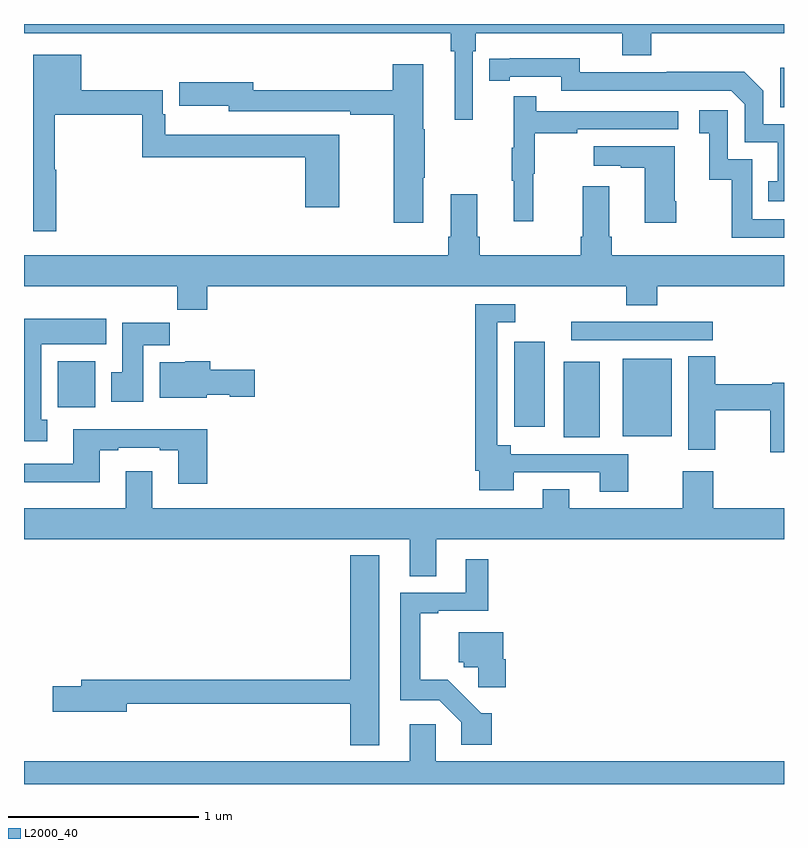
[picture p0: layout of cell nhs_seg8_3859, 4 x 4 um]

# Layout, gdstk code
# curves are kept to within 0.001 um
import gdstk
lib = gdstk.Library(unit=1e-6, precision=1e-09)
def R(c, l, rs):  # rectangles x0, y0, x1, y1
    for r in rs: c.add(gdstk.rectangle(r[:2], r[2:], *l))
def P(c, l, *ps):  # polygons
    for p in ps: c.add(gdstk.Polygon(p, *l))
L2000_40 = (2000, 40)

nhs_seg8_3859 = lib.new_cell('nhs_seg8_3859')
R(nhs_seg8_3859, L2000_40, [(351.842,1095.725,352.03,1096.123), (352.151,1095.731,352.408,1096.138), (351.581,1095.78,351.742,1096.228), (349.178,1095.884,349.375,1096.126), (351.879,1096.236,352.624,1096.332), (352.98,1097.463,353,1097.671)])
P(nhs_seg8_3859, L2000_40, [(351.363,1097.756),(351.377,1097.756),(351.377,1097.852),(352.148,1097.852),(352.148,1097.735),(352.301,1097.735),(352.301,1097.852),(353,1097.852),(353,1097.9),(349,1097.9),(349,1097.852),(351.247,1097.852),(351.247,1097.756),(351.266,1097.756),(351.266,1097.397),(351.363,1097.397)],
  [(349.171,1097.133),(349.163,1097.133),(349.163,1097.422),(349.623,1097.422),(349.623,1097.2),(350.48,1097.2),(350.48,1096.935),(350.658,1096.935),(350.658,1097.316),(349.982,1097.316),(349.982,1097.317),(349.744,1097.317),(349.744,1097.424),(349.731,1097.424),(349.731,1097.551),(349.3,1097.551),(349.3,1097.737),(349.049,1097.737),(349.049,1096.809),(349.171,1096.809)],
  [(353,1097.373),(352.89,1097.373),(352.89,1097.55),(352.792,1097.648),(352.384,1097.648),(352.384,1097.646),(351.924,1097.646),(351.924,1097.719),(351.448,1097.718),(351.448,1097.602),(351.556,1097.602),(351.556,1097.622),(351.828,1097.622),(351.828,1097.55),(352.722,1097.55),(352.794,1097.478),(352.794,1097.277),(352.967,1097.277),(352.967,1097.073),(352.918,1097.073),(352.918,1096.968),(353,1096.968)],
  [(351.1,1097.092),(351.108,1097.092),(351.108,1097.345),(351.1,1097.345),(351.1,1097.689),(350.942,1097.689),(350.942,1097.551),(350.206,1097.551),(350.206,1097.593),(349.818,1097.593),(349.818,1097.471),(350.078,1097.471),(350.078,1097.442),(350.716,1097.442),(350.716,1097.422),(350.947,1097.422),(350.947,1096.854),(351.1,1096.854)],
  [(351.68,1097.112),(351.688,1097.112),(351.688,1097.326),(351.911,1097.326),(351.911,1097.346),(352.444,1097.346),(352.444,1097.442),(351.695,1097.442),(351.695,1097.521),(351.578,1097.521),(351.578,1097.249),(351.567,1097.249),(351.567,1097.075),(351.578,1097.075),(351.578,1096.863),(351.68,1096.863)],
  [(353,1096.872),(352.833,1096.872),(352.833,1097.187),(352.704,1097.187),(352.704,1097.446),(352.554,1097.446),(352.554,1097.325),(352.607,1097.325),(352.607,1097.079),(352.725,1097.079),(352.725,1096.776),(353,1096.776)],
  [(352.434,1096.966),(352.426,1096.966),(352.426,1097.257),(351.999,1097.257),(351.999,1097.153),(352.142,1097.153),(352.142,1097.143),(352.268,1097.143),(352.268,1096.854),(352.434,1096.854)],
  [(349.964,1096.52),(352.169,1096.52),(352.169,1096.421),(352.334,1096.421),(352.334,1096.52),(353,1096.52),(353,1096.684),(352.094,1096.684),(352.094,1096.78),(352.081,1096.78),(352.081,1097.047),(351.941,1097.047),(351.941,1096.78),(351.929,1096.78),(351.929,1096.684),(351.398,1096.684),(351.398,1096.78),(351.385,1096.78),(351.385,1097.005),(351.245,1097.005),(351.245,1096.78),(351.233,1096.78),(351.233,1096.684),(349,1096.684),(349,1096.52),(349.807,1096.52),(349.807,1096.396),(349.964,1096.396)],
  [(352.179,1095.636),(351.562,1095.636),(351.562,1095.682),(351.492,1095.682),(351.492,1096.329),(351.586,1096.329),(351.586,1096.425),(351.376,1096.425),(351.376,1095.55),(351.395,1095.55),(351.395,1095.446),(351.577,1095.446),(351.577,1095.54),(352.031,1095.54),(352.031,1095.438),(352.179,1095.438)],
  [(349.123,1095.818),(349.09,1095.818),(349.09,1096.214),(349.432,1096.214),(349.432,1096.348),(349,1096.348),(349,1095.705),(349.123,1095.705)],
  [(349.627,1096.208),(349.766,1096.208),(349.766,1096.327),(349.517,1096.327),(349.517,1096.068),(349.46,1096.068),(349.46,1095.912),(349.627,1095.912)],
  [(353,1096.012),(352.938,1096.012),(352.938,1096.004),(352.638,1096.004),(352.638,1096.151),(352.496,1096.151),(352.496,1095.66),(352.638,1095.66),(352.638,1095.868),(352.927,1095.868),(352.927,1095.645),(353,1095.645)],
  [(349.962,1095.95),(350.082,1095.95),(350.082,1095.938),(350.215,1095.938),(350.215,1096.08),(349.979,1096.08),(349.979,1096.126),(349.848,1096.126),(349.848,1096.12),(349.715,1096.12),(349.715,1095.932),(349.962,1095.932)],
  [(349.964,1095.766),(349.259,1095.766),(349.259,1095.585),(349,1095.585),(349,1095.488),(349.399,1095.488),(349.399,1095.657),(349.495,1095.657),(349.495,1095.669),(349.715,1095.669),(349.715,1095.657),(349.811,1095.657),(349.811,1095.48),(349.964,1095.48)],
  [(351.169,1095.188),(353,1095.188),(353,1095.352),(352.628,1095.352),(352.628,1095.547),(352.468,1095.547),(352.468,1095.352),(351.871,1095.352),(351.871,1095.451),(351.731,1095.451),(351.731,1095.352),(349.675,1095.352),(349.675,1095.547),(349.535,1095.547),(349.535,1095.352),(349,1095.352),(349,1095.188),(351.029,1095.188),(351.029,1094.994),(351.169,1094.994)],
  [(350.869,1095.103),(350.717,1095.103),(350.717,1094.45),(349.301,1094.45),(349.301,1094.414),(349.152,1094.414),(349.152,1094.279),(349.54,1094.279),(349.54,1094.322),(350.717,1094.322),(350.717,1094.105),(350.869,1094.105)],
  [(351.461,1094.272),(351.407,1094.272),(351.229,1094.45),(351.085,1094.45),(351.085,1094.799),(351.181,1094.799),(351.181,1094.811),(351.443,1094.811),(351.443,1095.082),(351.326,1095.082),(351.326,1094.907),(350.981,1094.907),(350.981,1094.34),(351.186,1094.34),(351.3,1094.226),(351.3,1094.106),(351.461,1094.106)],
  [(351.536,1094.556),(351.523,1094.556),(351.523,1094.698),(351.287,1094.698),(351.287,1094.541),(351.315,1094.541),(351.315,1094.514),(351.391,1094.514),(351.391,1094.409),(351.536,1094.409)],
  [(353,1094.02),(351.168,1094.02),(351.168,1094.215),(351.029,1094.215),(351.029,1094.02),(349,1094.02),(349,1093.9),(353,1093.9)])

lib.write_gds('nhs_seg8_3859.gds')
